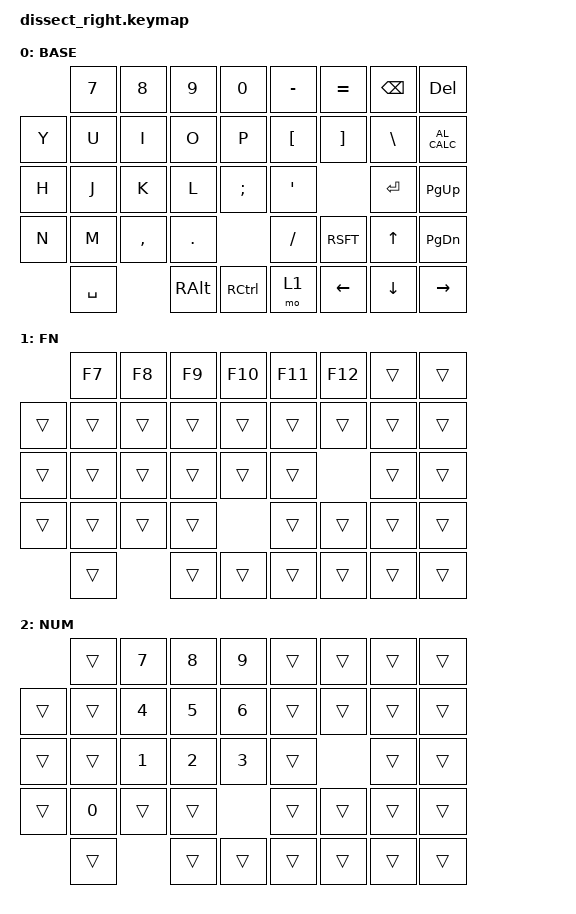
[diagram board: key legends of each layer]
#include <behaviors.dtsi>
#include <dt-bindings/zmk/keys.h>
#include <dt-bindings/zmk/bt.h>

/ {
    keymap {
        compatible = "zmk,keymap";

        base_layer {
            label = "BASE";
            bindings = <
                         &kp N7   &kp N8   &kp N9   &kp N0   &kp MINUS &kp EQUAL &kp BSPC &kp DEL
                &kp Y    &kp U    &kp I    &kp O    &kp P    &kp LBKT  &kp RBKT  &kp BSLH &kp C_AL_CALC
                &kp H    &kp J    &kp K    &kp L    &kp SEMI &kp SQT             &kp RET  &kp PG_UP
                &kp N    &kp M    &kp COMMA &kp DOT &kp FSLH           &kp RSFT  &kp UP   &kp PG_DN
                         &kp SPACE         &kp RALT &kp RCTL &mo 1     &kp LEFT  &kp DOWN &kp RIGHT
            >;
        };

        fn_layer {
            label = "FN";
            bindings = <
                         &kp F7  &kp F8  &kp F9  &kp F10 &kp F11 &kp F12 &trans &trans
                &trans   &trans  &trans  &trans  &trans  &trans  &trans  &trans  &trans
                &trans   &trans  &trans  &trans  &trans  &trans          &trans  &trans
                &trans   &trans  &trans  &trans  &trans          &trans  &trans  &trans
                         &trans          &trans  &trans  &trans  &trans  &trans  &trans
            >;
        };

        num_layer {
            label = "NUM";
            bindings = <
                         &trans  &kp N7  &kp N8  &kp N9  &trans  &trans  &trans  &trans
                &trans   &trans  &kp N4  &kp N5  &kp N6  &trans  &trans  &trans  &trans
                &trans   &trans  &kp N1  &kp N2  &kp N3  &trans          &trans  &trans
                &trans   &kp N0  &trans  &trans  &trans          &trans  &trans  &trans
                         &trans          &trans  &trans  &trans  &trans  &trans  &trans
            >;
        };
    };
};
